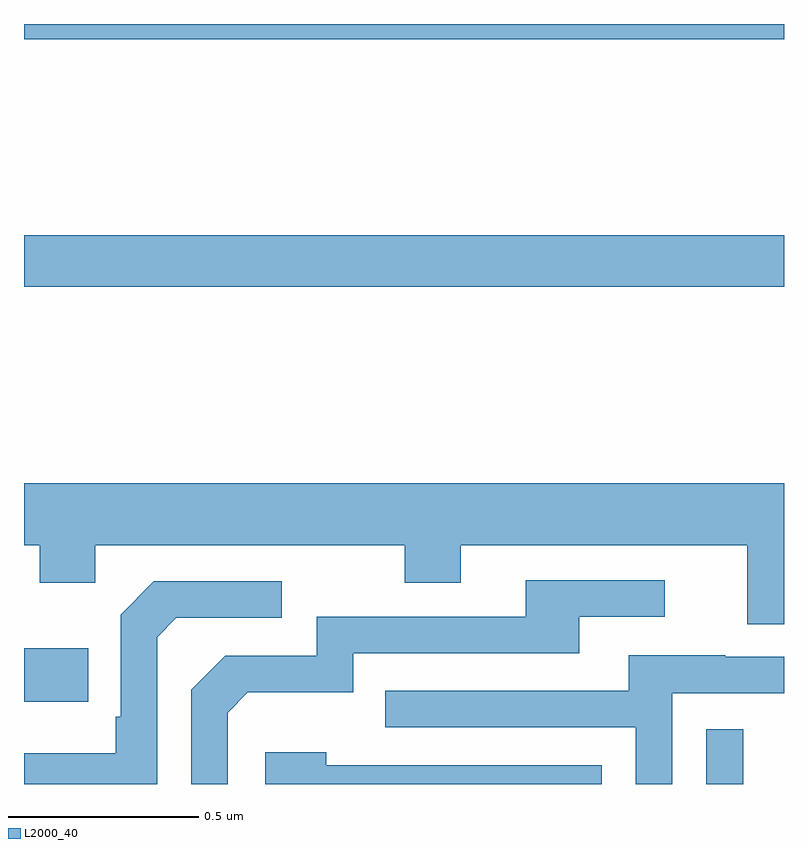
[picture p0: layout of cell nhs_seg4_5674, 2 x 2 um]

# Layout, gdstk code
import gdstk
lib = gdstk.Library(unit=1e-6, precision=1e-09)
def R(c, l, rs):  # rectangles x0, y0, x1, y1
    for r in rs: c.add(gdstk.rectangle(r[:2], r[2:], *l))
def P(c, l, *ps):  # polygons
    for p in ps: c.add(gdstk.Polygon(p, *l))
L2000_40 = (2000, 40)

nhs_seg4_5674 = lib.new_cell('nhs_seg4_5674')
R(nhs_seg4_5674, L2000_40, [(182.796,754.9,182.893,755.044), (181,755.117,181.169,755.257), (181,756.208,183,756.344), (181,756.86,183,756.9)])
P(nhs_seg4_5674, L2000_40, [(183,755.692),(181,755.692),(181,755.528),(181.042,755.528),(181.042,755.429),(181.188,755.429),(181.188,755.528),(182.002,755.528),(182.002,755.429),(182.149,755.429),(182.149,755.528),(182.903,755.528),(182.903,755.32),(183,755.32)],
  [(181.536,755.088),(181.589,755.141),(181.866,755.141),(181.866,755.244),(182.461,755.244),(182.461,755.34),(182.686,755.34),(182.686,755.436),(182.321,755.436),(182.321,755.34),(181.77,755.34),(181.77,755.238),(181.53,755.238),(181.44,755.148),(181.44,754.9),(181.536,754.9)],
  [(181.35,755.286),(181.401,755.337),(181.678,755.337),(181.678,755.433),(181.341,755.433),(181.254,755.346),(181.254,755.077),(181.242,755.077),(181.242,754.981),(181,754.981),(181,754.9),(181.35,754.9)],
  [(182.706,755.139),(183,755.139),(183,755.235),(182.845,755.235),(182.845,755.239),(182.591,755.239),(182.591,755.145),(181.951,755.145),(181.951,755.049),(182.61,755.049),(182.61,754.9),(182.706,754.9)],
  [(182.52,754.95),(181.796,754.95),(181.796,754.984),(181.635,754.984),(181.635,754.9),(182.52,754.9)])

lib.write_gds('nhs_seg4_5674.gds')
